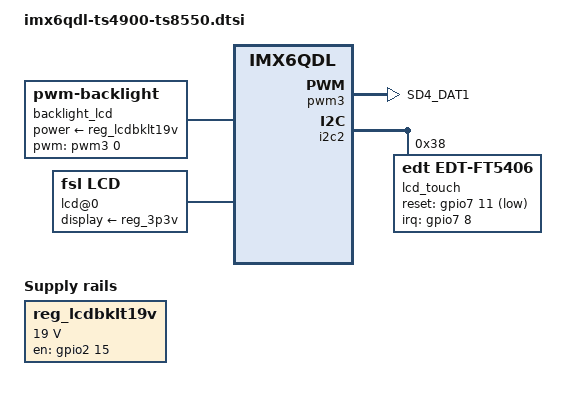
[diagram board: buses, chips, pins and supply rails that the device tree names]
/*
 * Copyright 2020 Technologic Systems
 *
 * This file is dual-licensed: you can use it either under the terms
 * of the GPL or the X11 license, at your option. Note that this dual
 * licensing only applies to this file, and not this project as a
 * whole.
 *
 *  a) This file is free software; you can redistribute it and/or
 *     modify it under the terms of the GNU General Public License
 *     version 2 as published by the Free Software Foundation.
 *
 *     This file is distributed in the hope that it will be useful
 *     but WITHOUT ANY WARRANTY; without even the implied warranty of
 *     MERCHANTABILITY or FITNESS FOR A PARTICULAR PURPOSE.  See the
 *     GNU General Public License for more details.
 *
 * Or, alternatively
 *
 *  b) Permission is hereby granted, free of charge, to any person
 *     obtaining a copy of this software and associated documentation
 *     files (the "Software"), to deal in the Software without
 *     restriction, including without limitation the rights to use
 *     copy, modify, merge, publish, distribute, sublicense, and/or
 *     sell copies of the Software, and to permit persons to whom the
 *     Software is furnished to do so, subject to the following
 *     conditions:
 *
 *     The above copyright notice and this permission notice shall be
 *     included in all copies or substantial portions of the Software.
 *
 *     THE SOFTWARE IS PROVIDED , WITHOUT WARRANTY OF ANY KIND
 *     EXPRESS OR IMPLIED, INCLUDING BUT NOT LIMITED TO THE WARRANTIES
 *     OF MERCHANTABILITY, FITNESS FOR A PARTICULAR PURPOSE AND
 *     NONINFRINGEMENT. IN NO EVENT SHALL THE AUTHORS OR COPYRIGHT
 *     HOLDERS BE LIABLE FOR ANY CLAIM, DAMAGES OR OTHER LIABILITY
 *     WHETHER IN AN ACTION OF CONTRACT, TORT OR OTHERWISE, ARISING
 *     FROM, OUT OF OR IN CONNECTION WITH THE SOFTWARE OR THE USE OR
 *     OTHER DEALINGS IN THE SOFTWARE.
 */

#include "imx6qdl-ts4900.dtsi"
#include <dt-bindings/interrupt-controller/irq.h>

/ {
	aliases {
		ethernet0 = &fec;
		mxcfb0 = &mxcfb0;
	};

	backlight_lcd {
		compatible = "pwm-backlight";
		pwms = <&pwm3 0 50000>; // 20khz as recommended by bklt manual
		brightness-levels = <0 128 140 160 180 200 220 240 255>;
		default-brightness-level = <8>;
		power-supply = <&reg_lcdbklt19v>;
	};

	lcd@0 {
		compatible = "fsl,lcd";
		ipu_id = <0>;
		disp_id = <0>;
		default_ifmt = "RGB24";
		pinctrl-names = "default";
		pinctrl-0 = <&pinctrl_ipu>;
		status = "okay";
		display-supply = <&reg_3p3v>;
	};

	mxcfb0: fb@0 {
		compatible = "fsl,mxc_sdc_fb";
		disp_dev = "lcd";
		interface_pix_fmt = "RGB24";
		mode_str ="NHD-3.5-320240MF";
		default_bpp = <24>;
		int_clk = <0>;
		late_init = <0>;
		status = "okay";
	};

	regulators {
		compatible = "simple-bus";

		reg_lcdbklt19v: lcdbklt19v {
			compatible = "regulator-fixed";
			pinctrl-names = "default";
			pinctrl-0 = <&pinctrl_lcdbklt19v>;
			regulator-name = "LCD_BKLT";
			regulator-min-microvolt = <19000000>;
			regulator-max-microvolt = <19000000>;
			gpio = <&gpio2 15 0>;
			enable-active-high;
			startup-delay-us = <60000>;
			regulator-boot-on;
		};
	};

	v4l2_out {
		compatible = "fsl,mxc_v4l2_output";
		status = "okay";
	};
};

&pwm3 {
	pinctrl-names = "default";
	pinctrl-0 = <&pinctrl_pwm3>;
	status = "okay";
};

&i2c2 {
	/* This is actually a 5426, but, it is compatible with the 5406 base */
	lcd_touch: ft5x26@38 {
		status = "okay";
		compatible = "edt,edt-ft5406", "edt,edt-ft5x06";
		reg = <0x38>;
		pinctrl-names = "default";
		pinctrl-0 = <&edt_ft5x06_pins>;
		interrupt-parent = <&gpio7>;
		interrupts = <8 0>;
		reset-gpios = <&gpio7 11 GPIO_ACTIVE_LOW>;

		touchscreen-size-x = <320>;
		touchscreen-size-y = <240>;
	};
};

&iomuxc {
	pinctrl-names = "default";
	pinctrl-0 = <&pinctrl_misc>;

	imx6-ts4900 {
		edt_ft5x06_pins: touchgrp {
			fsl,pins = <
				/* Touch RST */
				MX6QDL_PAD_GPIO_16__GPIO7_IO11          0x4001b8b1
				/* Touch IRQ */
				MX6QDL_PAD_SD3_RST__GPIO7_IO08          0x4001b8b1
			>;
		};

		pinctrl_lcdbklt19v: lcdreggrp {
			fsl,pins = <
				/* EN_LCD_BKLT */
				MX6QDL_PAD_SD4_DAT7__GPIO2_IO15          0x1b088
			>;
		};

		pinctrl_pwm3: pwm3grp {
			fsl,pins = <
				MX6QDL_PAD_SD4_DAT1__PWM3_OUT 0x1b088
			>;
		};

		pinctrl_ipu: tsipugrp {
			fsl,pins = <
			  MX6QDL_PAD_DI0_DISP_CLK__IPU1_DI0_DISP_CLK      0x38

			  /* DE */
			  MX6QDL_PAD_DI0_PIN15__IPU1_DI0_PIN15            0xe0
			  /* Hsync */
			  MX6QDL_PAD_DI0_PIN2__IPU1_DI0_PIN02             0xe0
			  /* Vsync */
			  MX6QDL_PAD_DI0_PIN3__IPU1_DI0_PIN03             0xe0

			  MX6QDL_PAD_DISP0_DAT0__IPU1_DISP0_DATA00        0xe0
			  MX6QDL_PAD_DISP0_DAT1__IPU1_DISP0_DATA01        0xe0
			  MX6QDL_PAD_DISP0_DAT2__IPU1_DISP0_DATA02        0xe0
			  MX6QDL_PAD_DISP0_DAT3__IPU1_DISP0_DATA03        0xe0
			  MX6QDL_PAD_DISP0_DAT4__IPU1_DISP0_DATA04        0xe0
			  MX6QDL_PAD_DISP0_DAT5__IPU1_DISP0_DATA05        0xe0
			  MX6QDL_PAD_DISP0_DAT6__IPU1_DISP0_DATA06        0xe0
			  MX6QDL_PAD_DISP0_DAT7__IPU1_DISP0_DATA07        0xe0
			  MX6QDL_PAD_DISP0_DAT8__IPU1_DISP0_DATA08        0xe0
			  MX6QDL_PAD_DISP0_DAT9__IPU1_DISP0_DATA09        0xe0
			  MX6QDL_PAD_DISP0_DAT10__IPU1_DISP0_DATA10       0xe0
			  MX6QDL_PAD_DISP0_DAT11__IPU1_DISP0_DATA11       0xe0
			  MX6QDL_PAD_DISP0_DAT12__IPU1_DISP0_DATA12       0xe0
			  MX6QDL_PAD_DISP0_DAT13__IPU1_DISP0_DATA13       0xe0
			  MX6QDL_PAD_DISP0_DAT14__IPU1_DISP0_DATA14       0xe0
			  MX6QDL_PAD_DISP0_DAT15__IPU1_DISP0_DATA15       0xe0
			  MX6QDL_PAD_DISP0_DAT16__IPU1_DISP0_DATA16       0xe0
			  MX6QDL_PAD_DISP0_DAT17__IPU1_DISP0_DATA17       0xe0
			  MX6QDL_PAD_DISP0_DAT18__IPU1_DISP0_DATA18       0xe0
			  MX6QDL_PAD_DISP0_DAT19__IPU1_DISP0_DATA19       0xe0
			  MX6QDL_PAD_DISP0_DAT20__IPU1_DISP0_DATA20       0xe0
			  MX6QDL_PAD_DISP0_DAT21__IPU1_DISP0_DATA21       0xe0
			  MX6QDL_PAD_DISP0_DAT22__IPU1_DISP0_DATA22       0xe0
			  MX6QDL_PAD_DISP0_DAT23__IPU1_DISP0_DATA23       0xe0
			>;
		};

		pinctrl_misc: misc {
			fsl,pins = <
			  /* OFF_BD_RESET# */
			  MX6QDL_PAD_EIM_A17__GPIO2_IO21          0x1b0b1
			  /* EN_USB_5V# */
			  MX6QDL_PAD_EIM_A16__GPIO2_IO22          0x1b0b1
			  /* EN_LCD_3.3V */
			  MX6QDL_PAD_EIM_A19__GPIO2_IO19          0x1b0b1
			  /* Audio CLK */
			  MX6QDL_PAD_GPIO_0__CCM_CLKO1            0x130b0

			  /* DIO_1 */
			  MX6QDL_PAD_GPIO_5__GPIO1_IO05           0x1b0b1
			  /* DIO_3 */
			  MX6QDL_PAD_GPIO_9__GPIO1_IO09           0x1b0b1
			  /* DIO_5 */
			  MX6QDL_PAD_GPIO_17__GPIO7_IO12          0x1b0b1
			  /* DIO_7 */
			  MX6QDL_PAD_GPIO_19__GPIO4_IO05          0x1b0b1
			  /* DIO_8 */
			  MX6QDL_PAD_CSI0_MCLK__GPIO5_IO19        0x1b0b1
			  /* DIO_9 */
			  MX6QDL_PAD_CSI0_PIXCLK__GPIO5_IO18      0x1b0b1
			  /* DIO_0 */
			  MX6QDL_PAD_CSI0_DAT12__GPIO5_IO30       0x1b0b1
			  /* DIO_6 */
			  MX6QDL_PAD_CSI0_DAT13__GPIO5_IO31       0x1b0b1
			  /* CPU_DIO_A */
			  MX6QDL_PAD_CSI0_DAT17__GPIO6_IO03       0x1b0b1
			  /* BUS_ALE# */
			  MX6QDL_PAD_EIM_LBA__GPIO2_IO27          0x1b0b1
			  /* DIO_15 */
			  MX6QDL_PAD_EIM_OE__GPIO2_IO25           0x1b0b1
			  /* BUS_DIR */
			  MX6QDL_PAD_EIM_RW__GPIO2_IO26           0x1b0b1
			  /* BUS_CS# */
			  MX6QDL_PAD_EIM_CS0__GPIO2_IO23          0x1b0b1
			  /* DIO_14 */
			  MX6QDL_PAD_EIM_A18__GPIO2_IO20          0x1b0b1
			  /* DIO_16 */
			  MX6QDL_PAD_EIM_A20__GPIO2_IO18          0x1b0b1
			  /* DIO_12 */
			  MX6QDL_PAD_EIM_A21__GPIO2_IO17          0x1b0b1
			  /* DIO_18 */
			  MX6QDL_PAD_EIM_A22__GPIO2_IO16          0x1b0b1
			  /* DIO_19 */
			  MX6QDL_PAD_EIM_A23__GPIO6_IO06          0x1b0b1
			  /* DIO_20 */
			  MX6QDL_PAD_EIM_A24__GPIO5_IO04          0x1b0b1
			  /* BUS_BHE# */
			  MX6QDL_PAD_EIM_D31__GPIO3_IO31          0x1b0b1
			  /* DIO_13 */
			  MX6QDL_PAD_EIM_BCLK__GPIO6_IO31         0x1b0b1
			  /* EIM_WAIT# */
			  MX6QDL_PAD_EIM_WAIT__GPIO5_IO00         0x1b0b1
			  /* DIO_10 */
			  MX6QDL_PAD_EIM_EB1__GPIO2_IO29          0x1b0b1
			  /* MUX_AD_00 */
			  MX6QDL_PAD_EIM_DA0__GPIO3_IO00          0x1b0b1
			  /* MUX_AD_01 */
			  MX6QDL_PAD_EIM_DA1__GPIO3_IO01          0x1b0b1
			  /* MUX_AD_02 */
			  MX6QDL_PAD_EIM_DA2__GPIO3_IO02          0x1b0b1
			  /* MUX_AD_03 */
			  MX6QDL_PAD_EIM_DA3__GPIO3_IO03          0x1b0b1
			  /* MUX_AD_04 */
			  MX6QDL_PAD_EIM_DA4__GPIO3_IO04          0x1b0b1
			  /* MUX_AD_05 */
			  MX6QDL_PAD_EIM_DA5__GPIO3_IO05          0x1b0b1
			  /* MUX_AD_06 */
			  MX6QDL_PAD_EIM_DA6__GPIO3_IO06          0x1b0b1
			  /* MUX_AD_07 */
			  MX6QDL_PAD_EIM_DA7__GPIO3_IO07          0x1b0b1
			  /* MUX_AD_08 */
			  MX6QDL_PAD_EIM_DA8__GPIO3_IO08          0x1b0b1
			  /* MUX_AD_09 */
			  MX6QDL_PAD_EIM_DA9__GPIO3_IO09          0x1b0b1
			  /* MUX_AD_10 */
			  MX6QDL_PAD_EIM_DA10__GPIO3_IO10         0x1b0b1
			  /* MUX_AD_11 */
			  MX6QDL_PAD_EIM_DA11__GPIO3_IO11         0x1b0b1
			  /* MUX_AD_12 */
			  MX6QDL_PAD_EIM_DA12__GPIO3_IO12         0x1b0b1
			  /* MUX_AD_13 */
			  MX6QDL_PAD_EIM_DA13__GPIO3_IO13         0x1b0b1
			  /* MUX_AD_14 */
			  MX6QDL_PAD_EIM_DA14__GPIO3_IO14         0x1b0b1
			  /* MUX_AD_15 */
			  MX6QDL_PAD_EIM_DA15__GPIO3_IO15         0x1b0b1
			>;
		};
	};
};

